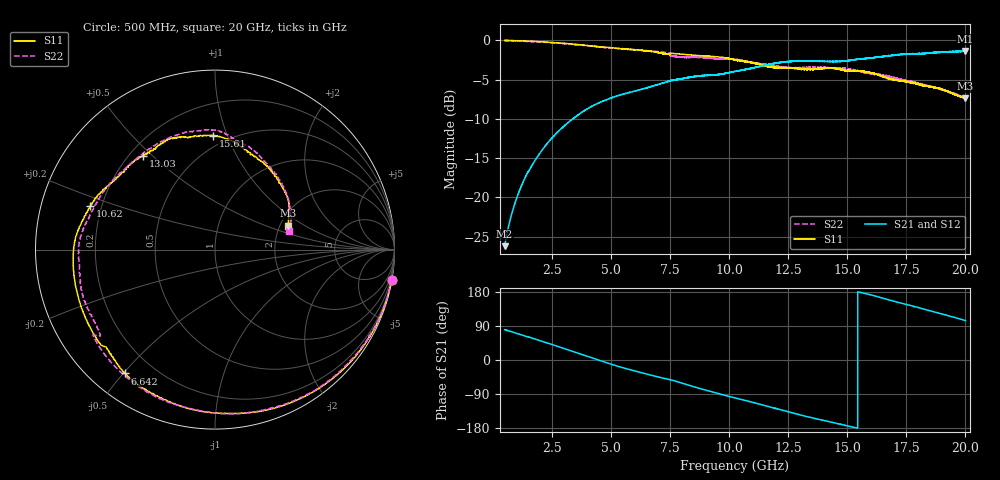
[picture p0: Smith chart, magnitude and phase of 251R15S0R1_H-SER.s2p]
!{251R15S0R1}
!Johanson Technology Inc.
!www.johansontechnology.com
!Test Board Conditions:
!Substrate Type  RO4350B
!Substrate Thickness  20 mil
!Substrate Dk  3.66
!TL Type: GCPW
!TL Trace Width  34 mil
!TL Gap  10 mil
!Electrode orientation  Horizontal
!DUT TOPOLOGY	SERIES
!Mounting Pad LxW  26x52 mil
! Created Thu Mar 12 16:24:02 2020
# mhz S ma R 50
! 2 Port Network Data from SP1.SP block
! freq  magS11  angS11  magS21  angS21  magS12  angS12  magS22  angS22
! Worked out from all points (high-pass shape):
!   19501 points, 500 MHz to 20 GHz, reference 50 ohm
!   highest |S21| = -1.33 dB at 20 GHz (marker M1); lowest = -26.2 dB at 500 MHz (marker M2)
!   |S21| within 3 dB of the highest: 9.601135 GHz to 9.611664 GHz (10.53 MHz wide, 0.11 % of centre); 9.626 GHz to end of sweep (the widest 2 of 7)
!   lowest |S11| = -7.4 dB at 20 GHz (marker M3), VSWR 2.50, Z = 111 + j36 ohm
!   |S11| at or under -10 dB: nowhere
!   |S22| runs from -7.4 to 0.0 dB; largest |S21 - S12| = 0.023
!   S11 on the Smith chart (normalised r, x): 500 MHz: 0, -12; 6.642 GHz: 0.10, -0.50; 10.62 GHz: 0.16, +0.16; 13.03 GHz: 0.25, +0.47; 15.61 GHz: 0.42, +0.89; 20 GHz: 2.22, +0.72
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500  0.9988 -9.8  0.04896 80.1  0.04917 80.2  0.9983 -9.9
971  0.9955 -18.9  0.09515 71.1  0.09521 70.9  0.994 -19.1
1529  0.9884 -29.9  0.1477 60.7  0.1483 60.7  0.9861 -29.8
2708  0.9659 -53.0  0.2576 36.8  0.2579 36.7  0.9628 -53.1
3750  0.9354 -74.3  0.3472 14.8  0.3474 14.9  0.9322 -74.9
5038  0.8977 -99.7  0.4312 -11.6  0.4319 -11.5  0.8922 -101.6
6642  0.854 -126.1  0.5051 -39.2  0.507 -39.1  0.8565 -130.6
7000  0.8368 -130.9  0.5243 -44.7  0.5242 -44.5  0.8478 -136.8
7501  0.8288 -139.9  0.5542 -51.6  0.5553 -51.6  0.7991 -142.9
8638  0.8025 -165.8  0.5909 -72.9  0.591 -72.7  0.7805 -158.5
10250  0.7517 166.7  0.6346 -100.0  0.6345 -100.2  0.7567 176.3
10617  0.7366 160.8  0.6491 -105.7  0.6523 -106.2  0.7412 170.8
11735  0.679 144.8  0.704 -124.0  0.7063 -124.3  0.6949 150.1
13028  0.659 127.6  0.7393 -145.1  0.7371 -145.3  0.6714 122.0
13500  0.6575 121.4  0.7378 -152.5  0.731 -152.8  0.6725 112.4
14625  0.6591 108.3  0.7341 -168.2  0.7317 -168.1  0.6676 92.9
15607  0.6354 90.8  0.7619 177.7  0.7579 177.4  0.63 81.7
16750  0.5744 70.3  0.8002 158.9  0.7942 160.1  0.5916 68.0
18164  0.5152 46.4  0.8254 135.5  0.8294 136.3  0.5255 46.1
19193  0.4763 30.1  0.8426 118.5  0.8525 118.1  0.4744 28.1
19997  0.4282 18.1  0.8561 104.2  0.8574 104.0  0.4274 14.3
20000  0.4287 17.9  0.8575 104.1  0.8569 103.9  0.4266 14.3
